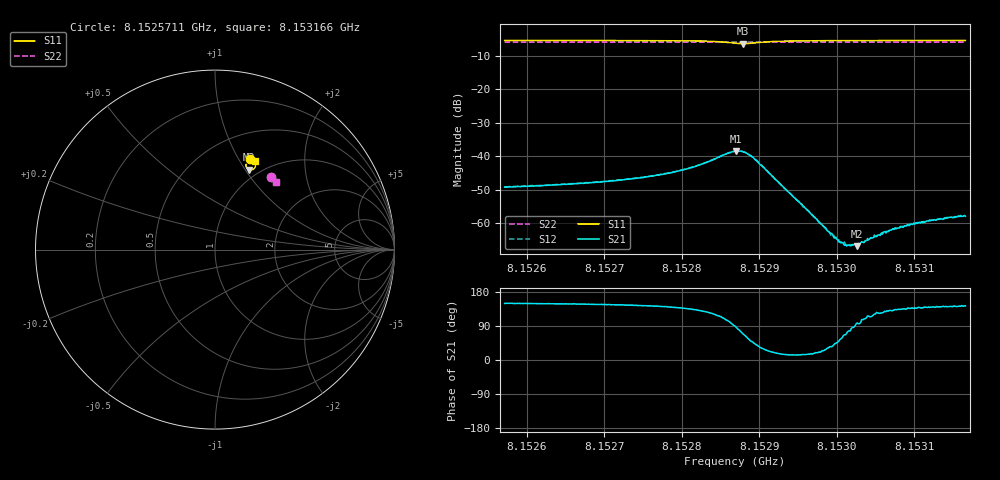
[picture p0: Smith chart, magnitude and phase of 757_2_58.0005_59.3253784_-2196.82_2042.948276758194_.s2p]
#  HZ  S  RI  R  50.00
! Rohde & Schwarz Vector Network Analyzer
! Rohde-Schwarz,ZNB20-2Port,1311601062101988,3.16
! Created: UTC 3/21/2024, 1:24:14 AM
! freq[Hz]  re:S11  im:S11  re:S21  im:S21  re:S12  im:S12  re:S22  im:S22
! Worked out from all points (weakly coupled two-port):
!   401 points, 8.1525711 GHz to 8.153166 GHz, reference 50 ohm
!   highest |S21| = -38.40 dB at 8.15287 GHz (marker M1); lowest = -66.9 dB at 8.1530262 GHz (marker M2)
!   lowest |S11| = -6.3 dB at 8.152879 GHz (marker M3), VSWR 2.88, Z = 44.7 + j52 ohm
!   |S11| at or under -10 dB: nowhere
!   |S22| runs from -5.9 to -5.8 dB; largest |S21 - S12| = 0.00046
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8.15257112e9  0.1943 0.5042  -0.00298 0.00178  -0.00299 0.00182  0.3135 0.4034
8.15267076e9  0.2028 0.5006  -0.00335 0.00213  -0.00331 0.00221  0.3186 0.3992
8.15271389e9  0.2072 0.4984  -0.00357 0.00244  -0.00358 0.00252  0.3206 0.3975
8.1527704e9  0.2144 0.4935  -0.00412 0.00327  -0.00408 0.00335  0.3234 0.395
8.1528165e9  0.2224 0.4841  -0.00474 0.00515  -0.00473 0.00529  0.3256 0.3926
8.15285814e9  0.2207 0.4549  -0.0028 0.0107  -0.00264 0.0107  0.3271 0.39
8.15286855e9  0.2082 0.4453  7.76e-05 0.0119  0.000505 0.0119  0.3267 0.3895
8.15287004e9  0.2056 0.4446  0.000766 0.012  0.00103 0.0119  0.327 0.3895
8.15287896e9  0.1888 0.4459  0.0043 0.0109  0.00437 0.0109  0.3269 0.3894
8.15288788e9  0.1763 0.4566  0.00637 0.00812  0.00648 0.00812  0.3269 0.3895
8.15289532e9  0.1726 0.4679  0.00663 0.00582  0.00681 0.00567  0.3273 0.3898
8.15292209e9  0.1822 0.4912  0.00416 0.00137  0.00419 0.0013  0.3292 0.3893
8.15296819e9  0.1981 0.4975  0.00127 0.000348  0.00131 0.000383  0.3321 0.3875
8.15299199e9  0.2031 0.4976  0.000573 0.000407  0.000546 0.000382  0.3332 0.3864
8.1530024e9  0.2048 0.4974  0.000345 0.0004  0.000377 0.000421  0.3338 0.3859
8.15301429e9  0.2068 0.4972  0.000119 0.000459  0.000157 0.000428  0.3345 0.3855
8.15302619e9  0.2084 0.4969  -6.24e-05 0.000449  -3.37e-05 0.000484  0.3349 0.385
8.15304998e9  0.2112 0.4963  -0.000338 0.000538  -0.000326 0.00055  0.3361 0.384
8.15306783e9  0.2134 0.4957  -0.000513 0.000592  -0.000498 0.000596  0.337 0.3831
8.15310055e9  0.2166 0.4948  -0.000719 0.000658  -0.000748 0.000684  0.3386 0.3816
8.15314367e9  0.2205 0.4935  -0.000938 0.000759  -0.000938 0.000777  0.3406 0.3797
8.15316598e9  0.2224 0.4928  -0.00101 0.000767  -0.00101 0.000826  0.3416 0.3789
